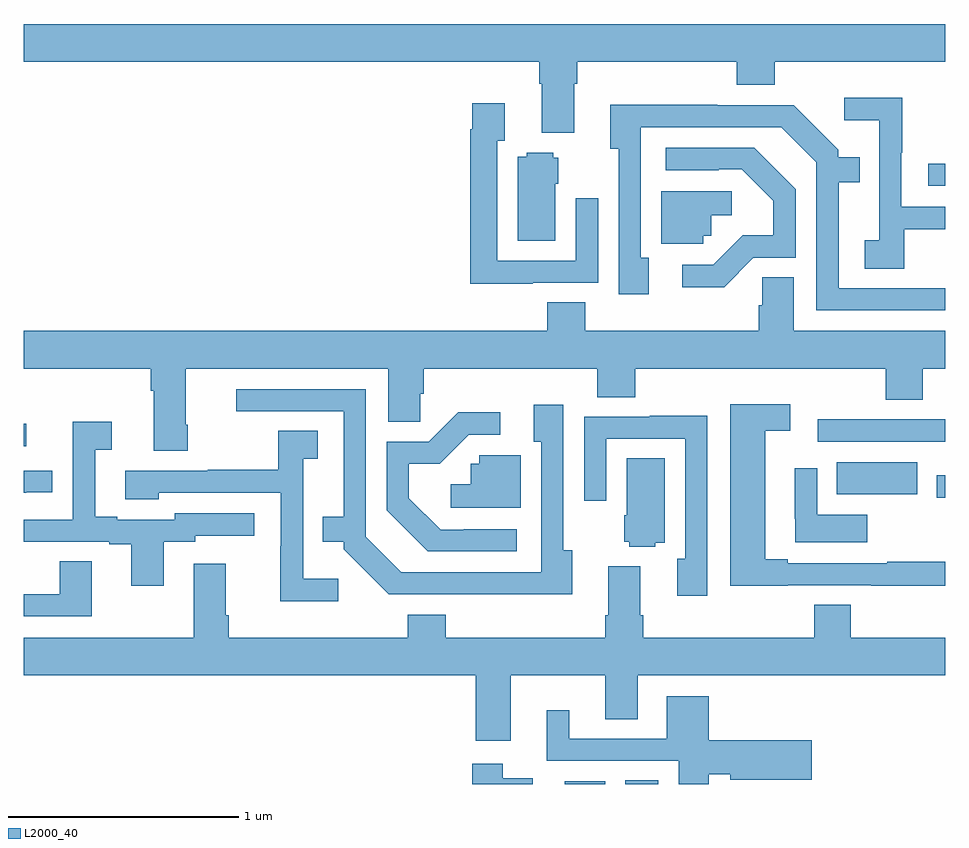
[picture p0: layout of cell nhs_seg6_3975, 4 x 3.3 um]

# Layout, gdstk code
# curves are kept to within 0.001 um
import gdstk
lib = gdstk.Library(unit=1e-6, precision=1e-09)
def R(c, l, rs):  # rectangles x0, y0, x1, y1
    for r in rs: c.add(gdstk.rectangle(r[:2], r[2:], *l))
def P(c, l, *ps):  # polygons
    for p in ps: c.add(gdstk.Polygon(p, *l))
L2000_40 = (2000, 40)

nhs_seg6_3975 = lib.new_cell('nhs_seg6_3975')
R(nhs_seg6_3975, L2000_40, [(347.348,977.5,347.524,977.512), (347.612,977.5,347.755,977.516), (348.964,978.742,349,978.841), (348.529,978.758,348.879,978.898), (345,978.966,345.01,979.065), (348.927,980.097,349,980.193)])
P(nhs_seg6_3975, L2000_40, [(347.389,980.54),(347.402,980.54),(347.402,980.636),(348.095,980.636),(348.095,980.537),(348.26,980.537),(348.26,980.636),(349,980.636),(349,980.8),(345,980.8),(345,980.636),(347.237,980.636),(347.237,980.54),(347.249,980.54),(347.249,980.327),(347.389,980.327)],
  [(348.823,979.909),(349,979.909),(349,980.007),(348.81,980.007),(348.81,980.24),(348.813,980.24),(348.813,980.479),(348.561,980.479),(348.561,980.381),(348.714,980.381),(348.714,979.86),(348.651,979.86),(348.651,979.738),(348.823,979.738)],
  [(347.209,979.677),(347.493,979.677),(347.493,980.044),(347.397,980.044),(347.397,979.773),(347.055,979.773),(347.055,980.294),(347.089,980.294),(347.089,980.455),(346.947,980.455),(346.947,980.342),(346.939,980.342),(346.939,979.673),(347.209,979.673)],
  [(349,979.653),(348.538,979.653),(348.538,980.112),(348.629,980.112),(348.629,980.221),(348.537,980.221),(348.537,980.253),(348.342,980.448),(348.011,980.448),(348.011,980.45),(347.546,980.45),(347.546,980.258),(347.583,980.258),(347.583,979.626),(347.713,979.626),(347.713,979.786),(347.679,979.786),(347.679,980.352),(348.288,980.352),(348.441,980.199),(348.441,979.557),(349,979.557)],
  [(348.168,979.785),(348.351,979.785),(348.351,980.083),(348.172,980.262),(347.787,980.262),(347.787,980.166),(348.017,980.166),(348.017,980.169),(348.117,980.169),(348.254,980.032),(348.254,979.882),(348.121,979.882),(347.994,979.755),(347.859,979.755),(347.859,979.658),(348.04,979.658)],
  [(347.308,980.106),(347.32,980.106),(347.32,980.22),(347.298,980.22),(347.298,980.242),(347.184,980.242),(347.184,980.224),(347.144,980.224),(347.144,979.858),(347.308,979.858)],
  [(347.949,979.881),(347.985,979.881),(347.985,979.97),(348.073,979.97),(348.073,980.073),(347.768,980.073),(347.768,979.845),(347.949,979.845)],
  [(345.711,979.06),(345.703,979.06),(345.703,979.304),(346.583,979.304),(346.583,979.072),(346.721,979.072),(346.721,979.194),(346.736,979.194),(346.736,979.304),(347.489,979.304),(347.489,979.18),(347.654,979.18),(347.654,979.304),(348.742,979.304),(348.742,979.168),(348.902,979.168),(348.902,979.304),(349,979.304),(349,979.468),(348.343,979.468),(348.343,979.7),(348.205,979.7),(348.205,979.578),(348.191,979.578),(348.191,979.468),(347.438,979.468),(347.438,979.592),(347.273,979.592),(347.273,979.468),(345,979.468),(345,979.304),(345.551,979.304),(345.551,979.208),(345.563,979.208),(345.563,978.948),(345.711,978.948)],
  [(347.38,978.514),(347.343,978.514),(347.343,979.147),(347.213,979.147),(347.213,978.986),(347.247,978.986),(347.247,978.42),(346.638,978.42),(346.485,978.573),(346.485,979.215),(345.921,979.215),(345.921,979.119),(346.388,979.119),(346.388,978.661),(346.297,978.661),(346.297,978.551),(346.389,978.551),(346.389,978.519),(346.584,978.324),(347.38,978.323)],
  [(348.316,978.363),(348.679,978.363),(348.679,978.361),(349,978.361),(349,978.464),(348.748,978.464),(348.748,978.459),(348.316,978.459),(348.316,978.475),(348.22,978.475),(348.22,979.033),(348.328,979.033),(348.328,979.15),(348.068,979.15),(348.068,978.361),(348.316,978.361)],
  [(347.14,978.606),(346.909,978.606),(346.909,978.603),(346.809,978.603),(346.672,978.74),(346.672,978.89),(346.805,978.89),(346.932,979.017),(347.068,979.017),(347.068,979.115),(346.886,979.115),(346.758,978.987),(346.575,978.987),(346.575,978.689),(346.754,978.51),(347.14,978.51)],
  [(347.967,979.099),(347.717,979.099),(347.717,979.095),(347.433,979.095),(347.433,978.729),(347.529,978.729),(347.529,978.999),(347.871,978.999),(347.871,978.479),(347.837,978.479),(347.837,978.318),(347.967,978.318)],
  [(349,979.083),(348.447,979.083),(348.447,978.987),(348.972,978.987),(348.972,978.986),(349,978.986)],
  [(345.607,978.552),(345.744,978.552),(345.744,978.579),(346,978.579),(346,978.675),(345.654,978.675),(345.654,978.648),(345.406,978.648),(345.406,978.661),(345.31,978.661),(345.31,978.952),(345.382,978.952),(345.382,979.072),(345.213,979.072),(345.213,978.648),(345,978.648),(345,978.552),(345.371,978.552),(345.371,978.54),(345.467,978.54),(345.467,978.36),(345.607,978.36)],
  [(346.366,978.391),(346.212,978.391),(346.212,978.913),(346.276,978.913),(346.276,979.034),(346.104,979.034),(346.104,978.864),(345.799,978.864),(345.799,978.861),(345.441,978.861),(345.441,978.737),(345.585,978.737),(345.585,978.765),(346.116,978.765),(346.116,978.533),(346.114,978.533),(346.114,978.293),(346.366,978.293)],
  [(347.158,978.927),(346.977,978.927),(346.977,978.891),(346.941,978.891),(346.941,978.802),(346.854,978.802),(346.854,978.699),(347.158,978.699)],
  [(347.742,978.548),(347.782,978.548),(347.782,978.914),(347.618,978.914),(347.618,978.666),(347.606,978.666),(347.606,978.552),(347.628,978.552),(347.628,978.53),(347.742,978.53)],
  [(348.661,978.67),(348.444,978.67),(348.444,978.871),(348.348,978.871),(348.348,978.652),(348.349,978.652),(348.349,978.549),(348.661,978.549)],
  [(345.011,978.766),(345.124,978.766),(345.124,978.861),(345,978.861),(345,978.765),(345.011,978.765)],
  [(345.295,978.467),(345.155,978.467),(345.155,978.324),(345,978.324),(345,978.228),(345.295,978.228)],
  [(347.113,977.972),(347.525,977.972),(347.525,977.782),(347.665,977.782),(347.665,977.972),(349,977.972),(349,978.136),(348.591,978.136),(348.591,978.278),(348.431,978.278),(348.431,978.136),(347.69,978.136),(347.69,978.232),(347.677,978.232),(347.677,978.445),(347.537,978.445),(347.537,978.232),(347.525,978.232),(347.525,978.136),(346.832,978.136),(346.832,978.235),(346.667,978.235),(346.667,978.136),(345.89,978.136),(345.89,978.232),(345.877,978.232),(345.877,978.457),(345.737,978.457),(345.737,978.136),(345,978.136),(345,977.972),(346.961,977.972),(346.961,977.688),(347.113,977.688)],
  [(347.974,977.542),(348.068,977.542),(348.068,977.519),(348.421,977.519),(348.421,977.689),(347.974,977.689),(347.974,977.881),(347.792,977.881),(347.792,977.697),(347.368,977.697),(347.368,977.821),(347.27,977.821),(347.27,977.601),(347.844,977.601),(347.844,977.5),(347.974,977.5)],
  [(347.209,977.524),(347.08,977.524),(347.08,977.587),(346.946,977.587),(346.946,977.5),(347.209,977.5)])

lib.write_gds('nhs_seg6_3975.gds')
